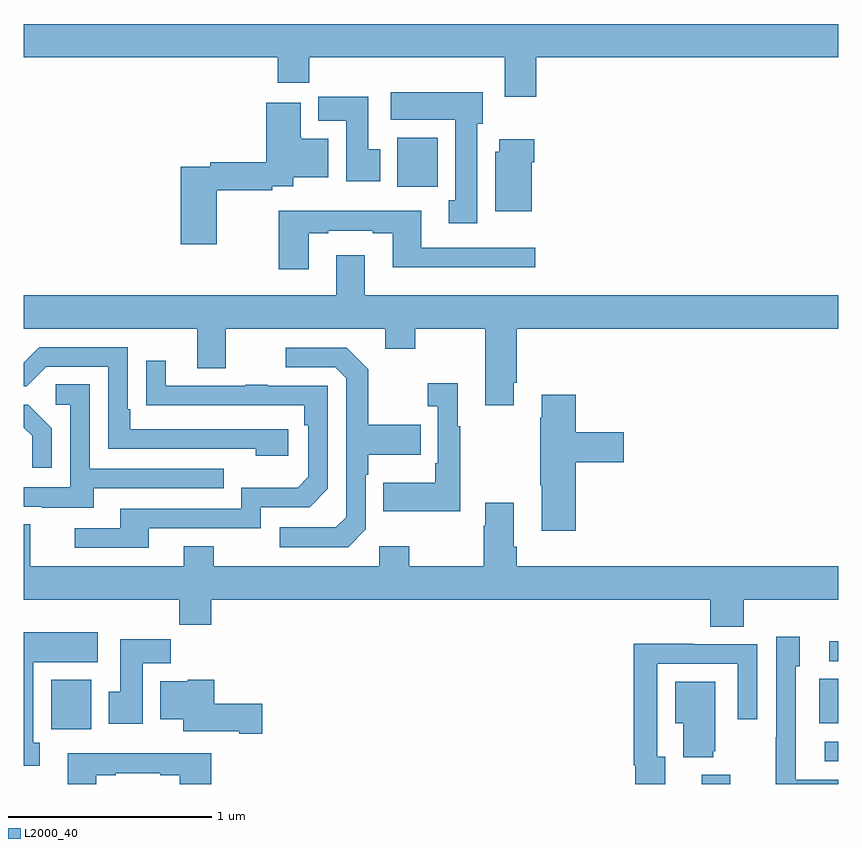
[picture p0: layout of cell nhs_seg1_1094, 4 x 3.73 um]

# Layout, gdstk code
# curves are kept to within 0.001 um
import gdstk
lib = gdstk.Library(unit=1e-6, precision=1e-09)
def R(c, l, rs):  # rectangles x0, y0, x1, y1
    for r in rs: c.add(gdstk.rectangle(r[:2], r[2:], *l))
def P(c, l, *ps):  # polygons
    for p in ps: c.add(gdstk.Polygon(p, *l))
L2000_40 = (2000, 40)

nhs_seg1_1094 = lib.new_cell('nhs_seg1_1094')
R(nhs_seg1_1094, L2000_40, [(174.329,512.199,174.469,512.245), (174.933,512.31,175,512.406), (171.134,512.468,171.331,512.71), (174.908,512.498,175,512.717), (174.957,512.802,175,512.9), (172.835,515.132,173.032,515.374)])
P(nhs_seg1_1094, L2000_40, [(173.516,515.768),(175,515.768),(175,515.932),(171,515.932),(171,515.768),(172.247,515.768),(172.247,515.644),(172.403,515.644),(172.403,515.768),(173.363,515.768),(173.363,515.574),(173.516,515.574)],
  [(173.227,515.442),(173.254,515.442),(173.254,515.596),(172.803,515.596),(172.803,515.462),(173.12,515.462),(173.12,515.066),(173.087,515.066),(173.087,514.953),(173.227,514.953)],
  [(172.75,515.316),(172.693,515.316),(172.693,515.574),(172.445,515.574),(172.445,515.456),(172.583,515.456),(172.583,515.16),(172.75,515.16)],
  [(171.948,515.116),(172.22,515.116),(172.22,515.136),(172.324,515.136),(172.324,515.18),(172.495,515.18),(172.495,515.368),(172.366,515.368),(172.366,515.374),(172.36,515.374),(172.36,515.545),(172.19,515.545),(172.19,515.252),(171.916,515.252),(171.916,515.232),(171.77,515.232),(171.77,514.851),(171.948,514.851)],
  [(173.494,515.252),(173.507,515.252),(173.507,515.365),(173.336,515.365),(173.336,515.304),(173.315,515.304),(173.315,515.012),(173.494,515.012)],
  [(172.399,514.905),(172.495,514.905),(172.495,514.917),(172.715,514.917),(172.715,514.905),(172.811,514.905),(172.811,514.736),(173.512,514.736),(173.512,514.833),(172.951,514.833),(172.951,515.014),(172.252,515.014),(172.252,514.728),(172.399,514.728)],
  [(173.407,514.171),(173.42,514.171),(173.42,514.436),(175,514.436),(175,514.6),(172.675,514.6),(172.675,514.795),(172.535,514.795),(172.535,514.6),(171,514.6),(171,514.436),(171.851,514.436),(171.851,514.242),(171.991,514.242),(171.991,514.436),(172.775,514.436),(172.775,514.337),(172.923,514.337),(172.923,514.436),(173.267,514.436),(173.267,514.059),(173.407,514.059)],
  [(172.3,513.942),(171.523,513.942),(171.523,514.039),(171.51,514.039),(171.51,514.344),(171.075,514.344),(171,514.269),(171,514.152),(171.015,514.152),(171.111,514.248),(171.414,514.248),(171.414,513.846),(172.139,513.846),(172.139,513.812),(172.3,513.812)],
  [(172.68,513.45),(172.68,513.719),(172.693,513.719),(172.693,513.815),(172.949,513.815),(172.949,513.963),(172.693,513.963),(172.693,514.235),(172.587,514.341),(172.287,514.341),(172.287,514.245),(172.53,514.245),(172.584,514.191),(172.584,513.51),(172.533,513.459),(172.257,513.459),(172.257,513.363),(172.593,513.363)],
  [(171.613,513.456),(172.164,513.456),(172.164,513.558),(172.404,513.558),(172.494,513.648),(172.494,514.155),(172.199,514.155),(172.199,514.16),(172.087,514.16),(172.087,514.155),(171.697,514.155),(171.697,514.279),(171.601,514.279),(171.601,514.06),(172.378,514.059),(172.378,513.962),(172.398,513.962),(172.398,513.708),(172.345,513.655),(172.068,513.655),(172.068,513.552),(171.473,513.552),(171.473,513.456),(171.249,513.456),(171.249,513.36),(171.613,513.36)],
  [(173.143,513.955),(173.131,513.955),(173.131,514.168),(172.983,514.168),(172.983,514.055),(173.034,514.055),(173.034,513.775),(173.022,513.775),(173.022,513.679),(172.765,513.679),(172.765,513.539),(173.143,513.539)],
  [(171.343,513.651),(171.983,513.651),(171.983,513.747),(171.324,513.747),(171.324,514.163),(171.156,514.163),(171.156,514.062),(171.228,514.062),(171.228,513.657),(171,513.657),(171,513.561),(171.089,513.561),(171.089,513.557),(171.343,513.557)],
  [(173.711,513.779),(173.947,513.779),(173.947,513.926),(173.711,513.926),(173.711,514.111),(173.543,514.111),(173.543,513.998),(173.536,513.998),(173.536,513.667),(173.543,513.667),(173.543,513.444),(173.711,513.444)],
  [(171.138,513.946),(171.022,514.062),(171,514.062),(171,513.95),(171.041,513.909),(171.041,513.753),(171.138,513.753)],
  [(173.42,513.364),(173.407,513.364),(173.407,513.58),(173.267,513.58),(173.267,513.467),(173.26,513.467),(173.26,513.268),(172.893,513.268),(172.893,513.367),(172.746,513.367),(172.746,513.268),(171.933,513.268),(171.933,513.367),(171.785,513.367),(171.785,513.268),(171.031,513.268),(171.031,513.476),(171,513.476),(171,513.104),(171.763,513.104),(171.763,512.98),(171.92,512.98),(171.92,513.104),(174.371,513.104),(174.371,512.971),(174.536,512.971),(174.536,513.104),(175,513.104),(175,513.268),(173.42,513.268)],
  [(171.079,512.402),(171.046,512.402),(171.046,512.798),(171.364,512.798),(171.364,512.944),(171,512.944),(171,512.289),(171.079,512.289)],
  [(175,512.22),(174.792,512.22),(174.792,512.778),(174.811,512.778),(174.811,512.923),(174.696,512.923),(174.696,512.429),(174.694,512.429),(174.694,512.199),(175,512.199)],
  [(171.583,512.792),(171.722,512.792),(171.722,512.911),(171.473,512.911),(171.473,512.652),(171.416,512.652),(171.416,512.496),(171.583,512.496)],
  [(174.151,512.334),(174.111,512.334),(174.111,512.79),(174.507,512.79),(174.507,512.517),(174.603,512.517),(174.603,512.886),(174.287,512.886),(174.287,512.888),(173.995,512.888),(173.995,512.29),(174.003,512.29),(174.003,512.199),(174.151,512.199)],
  [(172.171,512.594),(171.935,512.594),(171.935,512.71),(171.804,512.71),(171.804,512.704),(171.671,512.704),(171.671,512.516),(171.782,512.516),(171.782,512.459),(172.058,512.459),(172.058,512.447),(172.171,512.447)],
  [(174.386,512.361),(174.397,512.361),(174.397,512.701),(174.2,512.701),(174.2,512.498),(174.239,512.498),(174.239,512.33),(174.386,512.33)],
  [(171.355,512.241),(171.451,512.241),(171.451,512.253),(171.671,512.253),(171.671,512.241),(171.767,512.241),(171.767,512.199),(171.92,512.199),(171.92,512.35),(171.215,512.35),(171.215,512.199),(171.355,512.199)])

lib.write_gds('nhs_seg1_1094.gds')
